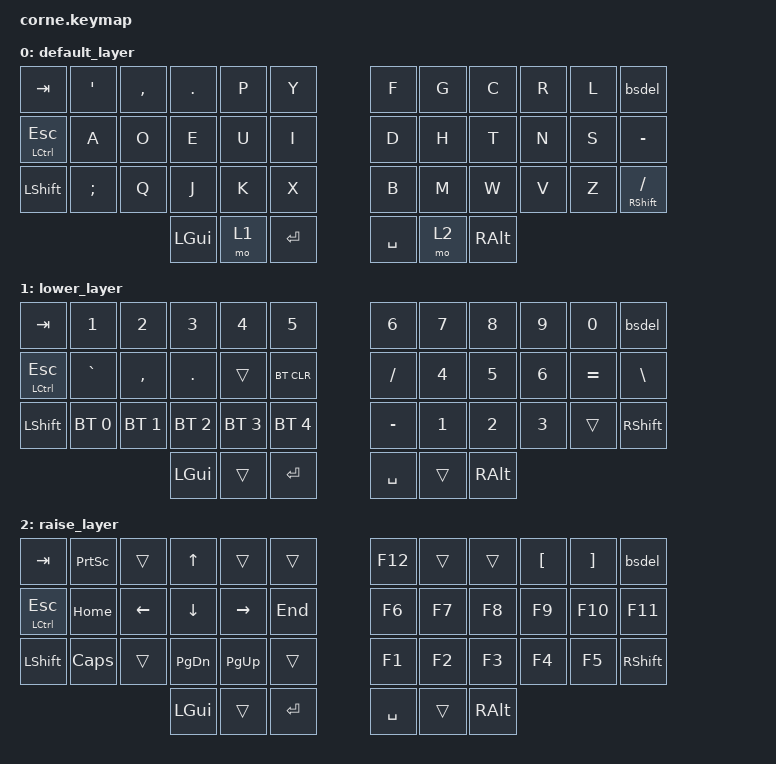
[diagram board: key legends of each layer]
/*
 * Copyright (c) 2020 The ZMK Contributors
 *
 * SPDX-License-Identifier: MIT
 */

#include <behaviors.dtsi>
#include <dt-bindings/zmk/keys.h>
#include <dt-bindings/zmk/bt.h>

/ {
    behaviors {
        bsdel: backspace_delete {
                   compatible = "zmk,behavior-mod-morph";
                   label = "BSDEL";
                   #binding-cells = <0>;
                   bindings = <&kp BSPC>, <&kp DEL>;
                   mods = <(MOD_LSFT)>;
               };
    };
    keymap {
        compatible = "zmk,keymap";

        default_layer {
// --------------------------------------   -------------------------------------
// | TAB       | ' | , | .   | p  | y   |   | f   | g  | c   | r | l | BSPC,DEL |
// | CTRL,ESC  | a | o | e   | u  | i   |   | d   | h  | t   | n | s | -        |
// | SHIFT     | ; | q | j   | k  | x   |   | b   | m  | w   | v | z | SHIFT, / |
// |           |   |   | WIN | LL | ENT |   | SPC | RL | ALT |   |   |          |
            bindings = <
   &kp TAB       &kp SQT  &kp COMMA &kp DOT  &kp P &kp Y    &kp F     &kp G &kp C     &kp R &kp L &bsdel
   &mt LCTRL ESC &kp A    &kp O     &kp E    &kp U &kp I    &kp D     &kp H &kp T     &kp N &kp S &kp MINUS
   &kp LSHFT     &kp SEMI &kp Q     &kp J    &kp K &kp X    &kp B     &kp M &kp W     &kp V &kp Z &mt RSHIFT FSLH
                                &kp LGUI &mo 1 &kp RET  &kp SPACE &mo 2 &kp RALT
                       >;
        };

        lower_layer {
// -------------------------------------------   -------------------------------------
// | TAB       | 1   | 2   | 3   | 4   | 5   |   | 6   | 7  | 8   | 9 | 0 | BSPC,DEL |
// | CTRL,ESC  | `   | ,   | .   |     | BTC |   | /   | 4  | 5   | 6 | = | \        |
// | SHIFT     | BT1 | BT2 | BT3 | BT4 | BT5 |   | -   | 1  | 2   | 3 |   | SHIFT    |
// |           |     |     | WIN | LL  | ENT |   | SPC | RL | ALT |   |   |          |

            bindings = <
   &kp TAB       &kp N1       &kp N2       &kp N3       &kp N4       &kp N5         &kp N6    &kp N7  &kp N8 &kp N9 &kp N0    &bsdel
   &mt LCTRL ESC &kp GRAVE    &kp COMMA    &kp DOT      &trans       &bt BT_CLR     &kp FSLH  &kp N4  &kp N5 &kp N6 &kp EQUAL &kp BACKSLASH
   &kp LSHFT     &bt BT_SEL 0 &bt BT_SEL 1 &bt BT_SEL 2 &bt BT_SEL 3 &bt BT_SEL 4   &kp MINUS &kp N1  &kp N2 &kp N3 &trans    &kp RSHIFT
                                       &kp LGUI     &trans       &kp RET        &kp SPACE &trans  &kp RALT
                       >;
        };

        raise_layer {
// -------------------------------------------------   ----------------------------------------
// | TAB      | PSCRN |      | UP    |       |     |   | F12 |     |    | [  | ]   | BSPC,DEL |
// | CTRL,ESC | HOME  | LEFT | DOWN  | RIGHT | END |   | F6  | F7  | F8 | F9 | F10 | F11      |
// | SHIFT    | CAPS  |      | PGDWN | PGUP  |     |   | F1  | F2  | F3 | F4 | F5  | SHIFT    |
// |          |       |      | WIN   | LL    | ENT |   | SPC | RL  | ALT |    |    |          |
            bindings = <
   &kp TAB       &kp PSCRN &trans   &kp UP        &trans      &trans  &kp F12 &trans  &trans &kp LEFT_BRACKET &kp RIGHT_BRACKET &bsdel
   &mt LCTRL ESC &kp HOME  &kp LEFT &kp DOWN      &kp RIGHT   &kp END &kp F6  &kp F7  &kp F8 &kp F9           &kp F10           &kp F11
   &kp LSHFT     &kp CAPS  &trans   &kp PAGE_DOWN &kp PAGE_UP &trans  &kp F1  &kp F2  &kp F3 &kp F4           &kp F5            &kp RSHIFT
                                    &kp LGUI      &trans      &kp RET &kp SPACE    &trans    &kp RALT
                       >;
        };
    };
};
